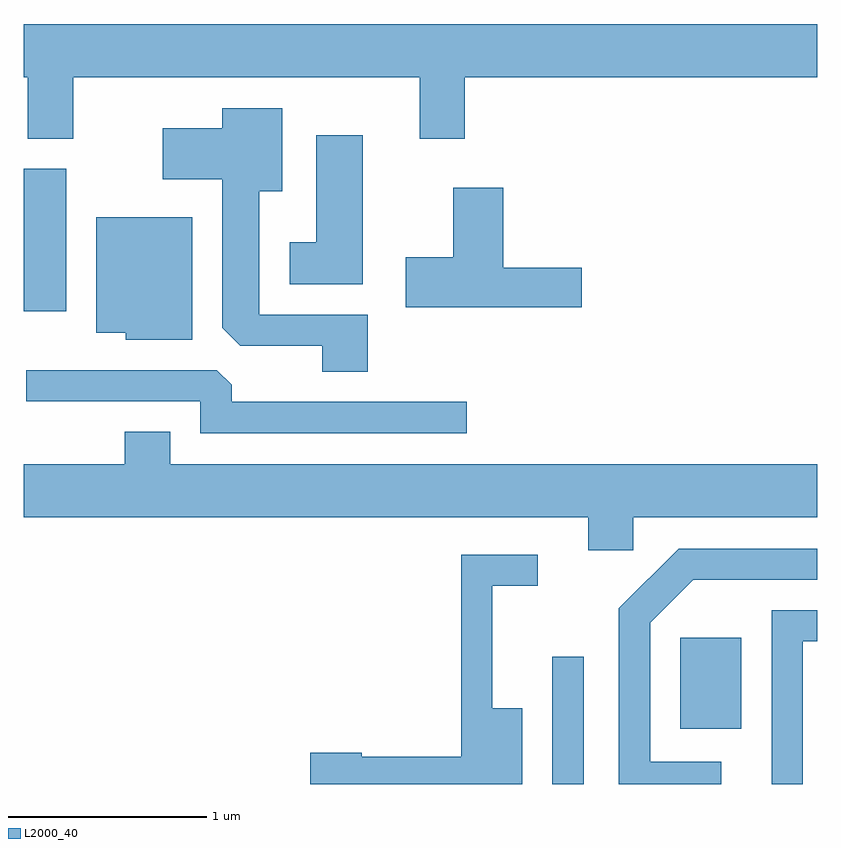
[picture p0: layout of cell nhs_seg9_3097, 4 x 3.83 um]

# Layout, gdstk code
import gdstk
lib = gdstk.Library(unit=1e-6, precision=1e-09)
def R(c, l, rs):  # rectangles x0, y0, x1, y1
    for r in rs: c.add(gdstk.rectangle(r[:2], r[2:], *l))
def P(c, l, *ps):  # polygons
    for p in ps: c.add(gdstk.Polygon(p, *l))
L2000_40 = (2000, 40)

nhs_seg9_3097 = lib.new_cell('nhs_seg9_3097')
R(nhs_seg9_3097, L2000_40, [(278.276,2030.432,278.434,2031.073), (278.921,2030.711,279.229,2031.169), (275.611,2032.816,275.824,2033.534)])
P(nhs_seg9_3097, L2000_40, [(275.859,2033.996),(277.606,2033.996),(277.606,2033.686),(277.834,2033.686),(277.834,2033.996),(279.611,2033.996),(279.611,2034.264),(275.611,2034.264),(275.611,2033.996),(275.631,2033.996),(275.631,2033.686),(275.859,2033.686)],
  [(277.344,2032.799),(276.799,2032.799),(276.799,2033.421),(276.914,2033.421),(276.914,2033.839),(276.611,2033.839),(276.611,2033.739),(276.311,2033.739),(276.311,2033.481),(276.611,2033.481),(276.611,2032.732),(276.702,2032.641),(277.116,2032.641),(277.116,2032.511),(277.344,2032.511)],
  [(277.319,2033.704),(277.086,2033.704),(277.086,2033.164),(276.951,2033.164),(276.951,2032.951),(277.319,2032.951)],
  [(278.424,2033.034),(278.029,2033.034),(278.029,2033.439),(277.776,2033.439),(277.776,2033.089),(277.536,2033.089),(277.536,2032.836),(278.424,2032.836)],
  [(276.459,2033.289),(275.976,2033.289),(275.976,2032.706),(276.126,2032.706),(276.126,2032.671),(276.459,2032.671)],
  [(277.843,2032.359),(276.659,2032.359),(276.659,2032.444),(276.584,2032.519),(275.623,2032.519),(275.623,2032.361),(276.501,2032.361),(276.501,2032.201),(277.843,2032.201)],
  [(278.684,2031.776),(279.611,2031.776),(279.611,2032.044),(276.349,2032.044),(276.349,2032.209),(276.121,2032.209),(276.121,2032.044),(275.611,2032.044),(275.611,2031.776),(278.456,2031.776),(278.456,2031.611),(278.684,2031.611)],
  [(279.128,2030.544),(278.769,2030.544),(278.769,2031.244),(278.987,2031.461),(279.611,2031.461),(279.611,2031.619),(278.914,2031.619),(278.611,2031.317),(278.611,2030.432),(279.128,2030.432)],
  [(278.124,2030.814),(277.974,2030.814),(277.974,2031.431),(278.203,2031.431),(278.203,2031.589),(277.816,2031.589),(277.816,2030.569),(277.314,2030.569),(277.314,2030.589),(277.056,2030.589),(277.056,2030.432),(278.124,2030.432)],
  [(279.539,2031.151),(279.611,2031.151),(279.611,2031.309),(279.381,2031.309),(279.381,2030.432),(279.539,2030.432)])

lib.write_gds('nhs_seg9_3097.gds')
